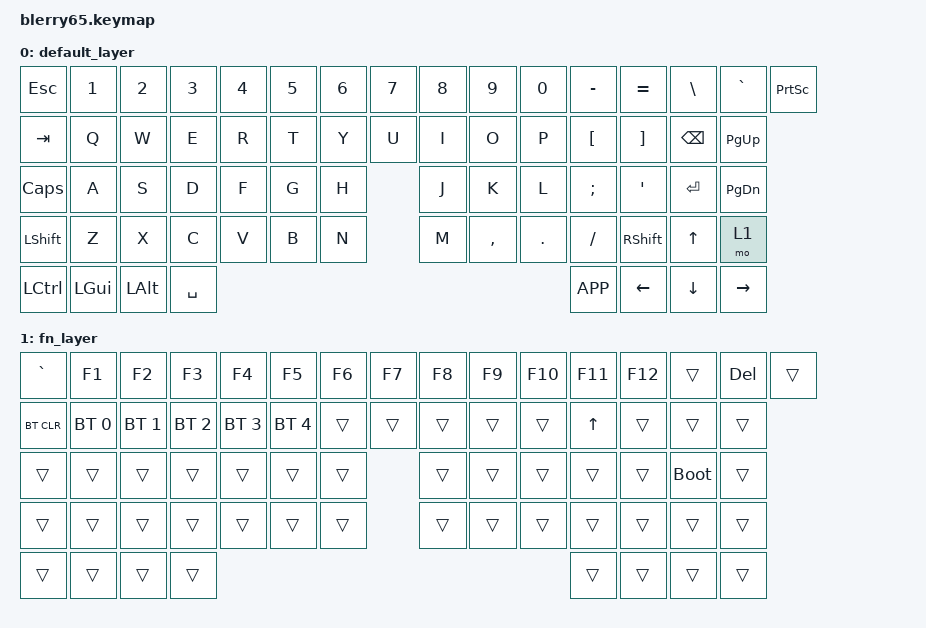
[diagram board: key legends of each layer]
#include <behaviors.dtsi>
#include <dt-bindings/zmk/keys.h>
#include <dt-bindings/zmk/bt.h>
#include <dt-bindings/zmk/outputs.h>
#include <dt-bindings/zmk/rgb.h>
#include <dt-bindings/zmk/ext_power.h>

// See: layout.h for layout options

/ {
	keymap {
		compatible = "zmk,keymap";
  
		default_layer {
// -----------------------------------------------------------------------------------------
//   | ESC   | 1     | 2     | 3     | 4     | 5     | 6     | 7     | 8     | 9     | 0     | -     | =     | BACKSPACE     | HOME   |
//   | TAB   | Q     | W     | E     | R     | T     | Y     | U     | I     | O     | P     | [     | ]     | \             | END    |
//   | CAPS  | A     | S     | D     | F     | G     | H     | J     | K     | L     | ;     | '     |         ENTER         | PG UP  |  
//   | SHIFT | Z     | X     | C     | V     | B     | N     | M     | ,     | .     | /     |         SHIFT        | UP     | PG DN  |
//   | CTRL  | GUI   | ALT   |                 SPACE                                 | ALT   | FN    |         LEFT | DOWN   | RIGHT  |

			bindings = <
    &kp ESC          &kp NUM_1        &kp NUM_2     &kp NUM_3     &kp NUM_4     &kp NUM_5        &kp NUM_6        &kp NUM_7        &kp NUM_8        &kp NUM_9        &kp NUM_0        &kp MINUS        &kp EQL          &kp BSLH   &kp GRAVE         &kp PSCRN
    &kp TAB          &kp Q            &kp W         &kp E         &kp R         &kp T            &kp Y            &kp U            &kp I            &kp O            &kp P            &kp LBKT         &kp RBKT         &kp BSPC         &kp PG_UP
    &kp CAPS         &kp A            &kp S         &kp D         &kp F         &kp G            &kp H            &kp J            &kp K            &kp L            &kp SCLN         &kp QUOT                          &kp ENTER        &kp PG_DN
    &kp LSHFT        &kp Z            &kp X         &kp C         &kp V         &kp B            &kp N            &kp M            &kp CMMA         &kp DOT          &kp FSLH         &kp RSHFT                         &kp UP           &mo 1
	&kp LCTRL        &kp LGUI         &kp LALT                    &kp SPACE                                                                                      &kp K_APP                        &kp LEFT         &kp DOWN         &kp RIGHT
			>;
		};

		fn_layer {
// -----------------------------------------------------------------------------------------
//   | GRAVE | F1    | F2    | F3    | F4    | F5    | F6    | F7    | F8    | F9    | F10   | F11   | F12   | DEL    | TRANS  |
//   | BT_CLR|PROF 0 |PROF 1 |PROF 2 |PROF 3 |PROF 4 | TRANS | TRANS | TRANS | TRANS | TRANS | TRANS | TRANS | TRANS  | TRANS  |
//   | TRANS | TRANS | TRANS | TRANS | TRANS | TRANS | TRANS | TRANS | TRANS | TRANS | TRANS | TRANS |    BOOTLOADER  | TRANS  |
//   | SHIFT | TRANS | TRANS | TRANS | TRANS | TRANS | TRANS | TRANS | TRANS | TRANS | TRANS | TRANS | TRANS |  TRANS | TRANS  |
//   | TRANS | TRANS | TRANS |                        TRANS |                          TRANS | TRANS | TRANS |  TRANS | TRANS  |

			bindings = <
    &kp GRAVE        &kp F1           &kp F2           &kp F3          &kp F4          &kp F5        &kp F6           &kp F7           &kp F8           &kp F9           &kp F10          &kp F11          &kp F12      &trans    &kp DEL         &trans
    &bt BT_CLR       &bt BT_SEL 0     &bt BT_SEL 1     &bt BT_SEL 2    &bt BT_SEL 3    &bt BT_SEL 4  &trans           &trans           &trans           &trans           &trans           &kp UP           &trans        &trans          &trans
    &trans           &trans           &trans           &trans          &trans          &trans        &trans           &trans           &trans           &trans           &trans           &trans                         &bootloader     &trans
    &trans           &trans           &trans           &trans          &trans          &trans        &trans           &trans           &trans           &trans           &trans           &trans                         &trans          &trans
    &trans           &trans           &trans                            &trans                                                                                            &trans           &trans           &trans          &trans
			>;
		};

	};
};
